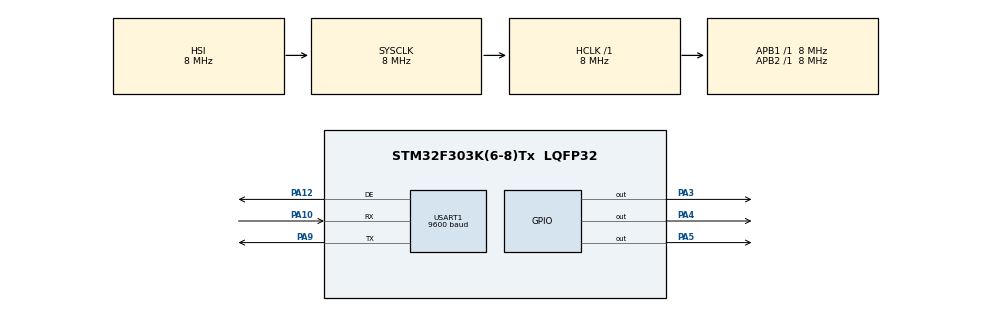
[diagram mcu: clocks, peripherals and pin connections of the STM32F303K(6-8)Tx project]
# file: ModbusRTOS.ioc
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Dma.Request0=USART1_RX
Dma.Request1=USART1_TX
Dma.USART1_RX.0.Direction=DMA_PERIPH_TO_MEMORY
Dma.USART1_RX.0.Instance=DMA1_Channel5
Dma.USART1_RX.0.MemDataAlignment=DMA_MDATAALIGN_BYTE
Dma.USART1_RX.0.MemInc=DMA_MINC_ENABLE
Dma.USART1_RX.0.Mode=DMA_NORMAL
Dma.USART1_RX.0.PeriphDataAlignment=DMA_PDATAALIGN_BYTE
Dma.USART1_RX.0.PeriphInc=DMA_PINC_DISABLE
Dma.USART1_RX.0.Priority=DMA_PRIORITY_LOW
Dma.USART1_TX.1.Direction=DMA_MEMORY_TO_PERIPH
Dma.USART1_TX.1.Instance=DMA1_Channel4
Dma.USART1_TX.1.MemDataAlignment=DMA_MDATAALIGN_BYTE
Dma.USART1_TX.1.MemInc=DMA_MINC_ENABLE
Dma.USART1_TX.1.Mode=DMA_NORMAL
Dma.USART1_TX.1.PeriphDataAlignment=DMA_PDATAALIGN_BYTE
Dma.USART1_TX.1.PeriphInc=DMA_PINC_DISABLE
Dma.USART1_TX.1.Priority=DMA_PRIORITY_LOW
FREERTOS.Tasks01=defaultTask,24,128,StartDefaultTask,Default,NULL,Dynamic,NULL,NULL
FREERTOS.configUSE_NEWLIB_REENTRANT=1
Mcu.Family=STM32F3
Mcu.Name=STM32F303K(6-8)Tx
Mcu.Package=LQFP32
NVIC.DMA1_Channel4_IRQn=true\:5\:0\:false\:false\:true\:true\:false\:true\:true
NVIC.DMA1_Channel5_IRQn=true\:5\:0\:false\:false\:true\:true\:false\:true\:true
NVIC.PriorityGroup=NVIC_PRIORITYGROUP_4
NVIC.TIM6_DAC1_IRQn=true\:15\:0\:false\:false\:true\:false\:false\:true\:true
NVIC.TimeBase=TIM6_DAC1_IRQn
NVIC.TimeBaseIP=TIM6
NVIC.USART1_IRQn=true\:5\:0\:false\:false\:true\:true\:true\:true\:true
PA10.Mode=Asynchronous
PA10.Signal=USART1_RX
PA12.Mode=Hardware Flow Control (RS485)
PA12.Signal=USART1_DE
PA3.Signal=GPIO_Output
PA4.Signal=GPIO_Output
PA5.Signal=GPIO_Output
PA9.Mode=Asynchronous
PA9.Signal=USART1_TX
ProjectManager.HeapSize=0x200
ProjectManager.StackSize=0x400
ProjectManager.TargetToolchain=STM32CubeIDE
RCC.AHBFreq_Value=8000000
RCC.APB1Freq_Value=8000000
RCC.APB2Freq_Value=8000000
RCC.CortexFreq_Value=8000000
RCC.HSE_VALUE=8000000
RCC.HSI_VALUE=8000000
RCC.SYSCLKFreq_VALUE=8000000
USART1.BaudRate=9600
USART1.VirtualMode-Asynchronous=VM_ASYNC
USART1.VirtualMode-Hardware\ Flow\ Control\ (RS485)=VM_ASYNC
VP_FREERTOS_VS_CMSIS_V2.Mode=CMSIS_V2
VP_SYS_VS_tim6.Mode=TIM6
board=custom

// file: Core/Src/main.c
/* USER CODE BEGIN Header */
/**
 ******************************************************************************
 * @file           : main.c
 * @brief          : Main program body
 ******************************************************************************
 * @attention
 *
 * Copyright (c) 2025 STMicroelectronics.
 * All rights reserved.
 *
 * This software is licensed under terms that can be found in the LICENSE file
 * in the root directory of this software component.
 * If no LICENSE file comes with this software, it is provided AS-IS.
 *
 ******************************************************************************
 */
/* USER CODE END Header */
#include "main.h"
#include "cmsis_os.h"

/* USER CODE BEGIN Includes */
#include "modbus.h"
#include "modbus_init.h"
#include "modbus_device.h"
#include "modbus_test.h"
#include "uart_callbacks.h"
/* USER CODE END Includes */

UART_HandleTypeDef huart1;
DMA_HandleTypeDef hdma_usart1_rx;
DMA_HandleTypeDef hdma_usart1_tx;

/* Definitions for defaultTask */
osThreadId_t defaultTaskHandle;
const osThreadAttr_t defaultTask_attributes = {
    .name = "defaultTask",
    .stack_size = 128 * 4,
    .priority = (osPriority_t)osPriorityNormal,
};

/* Definitions for Modbus_Communication_Task */
osThreadId_t ModbusCommunicationTaskHandle;
const osThreadAttr_t ModbusCommunicationTask_attributes = {
    .name = "ModbusComm",
    .stack_size = 256 * 4,
    .priority = (osPriority_t)osPriorityNormal,
};

/* Definitions for Sensor_Update_Task */
osThreadId_t SensorUpdateTaskHandle;
const osThreadAttr_t SensorUpdateTask_attributes = {
    .name = "SensorUpdate",
    .stack_size = 128 * 4,
    .priority = (osPriority_t)osPriorityBelowNormal,
};

void SystemClock_Config(void);
static void MX_GPIO_Init(void);
static void MX_DMA_Init(void);
static void MX_USART1_UART_Init(void);
void StartDefaultTask(void *argument);
void ModbusCommunicationTask(void *argument);
void SensorUpdateTask(void *argument);
extern void initialise_monitor_handles(void);

int main(void)
{

  /* USER CODE BEGIN 1 */
  initialise_monitor_handles();
  /* USER CODE END 1 */

  /* MCU Configuration--------------------------------------------------------*/

  /* Reset of all peripherals, Initializes the Flash interface and the Systick. */
  HAL_Init();

  /* Configure the system clock */
  SystemClock_Config();

  /* Initialize all configured peripherals */
  MX_GPIO_Init();
  MX_DMA_Init();
  MX_USART1_UART_Init();
  /* USER CODE BEGIN 2 */

  // Initialize UART callbacks
  UART_Callbacks_Init();

  // Initialize Modbus RTU slave
  Modbus_Init();

  // Initialize test functions
  Modbus_Test_Init();

  /* USER CODE END 2 */

  /* Init scheduler */
  osKernelInitialize();

  /* Create the thread(s) */
  /* creation of defaultTask */
  defaultTaskHandle = osThreadNew(StartDefaultTask, NULL, &defaultTask_attributes);

  /* USER CODE BEGIN RTOS_THREADS */
  /* add threads, ... */

  // Create Modbus communication task
  ModbusCommunicationTaskHandle = osThreadNew(ModbusCommunicationTask, NULL, &ModbusCommunicationTask_attributes);

  // Create sensor update task
  SensorUpdateTaskHandle = osThreadNew(SensorUpdateTask, NULL, &SensorUpdateTask_attributes);

  /* USER CODE END RTOS_THREADS */

  /* Start scheduler */
  osKernelStart();

  /* We should never get here as control is now taken by the scheduler */

  /* Infinite loop */
  while (1)
  {

  }
}

void SystemClock_Config(void)
{
  RCC_OscInitTypeDef RCC_OscInitStruct = {0};
  RCC_ClkInitTypeDef RCC_ClkInitStruct = {0};
  RCC_PeriphCLKInitTypeDef PeriphClkInit = {0};

  /** Initializes the RCC Oscillators according to the specified parameters
   * in the RCC_OscInitTypeDef structure.
   */
  RCC_OscInitStruct.OscillatorType = RCC_OSCILLATORTYPE_HSI;
  RCC_OscInitStruct.HSIState = RCC_HSI_ON;
  RCC_OscInitStruct.HSICalibrationValue = RCC_HSICALIBRATION_DEFAULT;
  RCC_OscInitStruct.PLL.PLLState = RCC_PLL_NONE;
  if (HAL_RCC_OscConfig(&RCC_OscInitStruct) != HAL_OK)
  {
    Error_Handler();
  }

  /** Initializes the CPU, AHB and APB buses clocks
   */
  RCC_ClkInitStruct.ClockType = RCC_CLOCKTYPE_HCLK | RCC_CLOCKTYPE_SYSCLK | RCC_CLOCKTYPE_PCLK1 | RCC_CLOCKTYPE_PCLK2;
  RCC_ClkInitStruct.SYSCLKSource = RCC_SYSCLKSOURCE_HSI;
  RCC_ClkInitStruct.AHBCLKDivider = RCC_SYSCLK_DIV1;
  RCC_ClkInitStruct.APB1CLKDivider = RCC_HCLK_DIV1;
  RCC_ClkInitStruct.APB2CLKDivider = RCC_HCLK_DIV1;

  if (HAL_RCC_ClockConfig(&RCC_ClkInitStruct, FLASH_LATENCY_0) != HAL_OK)
  {
    Error_Handler();
  }
  PeriphClkInit.PeriphClockSelection = RCC_PERIPHCLK_USART1;
  PeriphClkInit.Usart1ClockSelection = RCC_USART1CLKSOURCE_PCLK1;
  if (HAL_RCCEx_PeriphCLKConfig(&PeriphClkInit) != HAL_OK)
  {
    Error_Handler();
  }
}

static void MX_USART1_UART_Init(void)
{

  huart1.Instance = USART1;
  huart1.Init.BaudRate = 9600;
  huart1.Init.WordLength = UART_WORDLENGTH_8B;
  huart1.Init.StopBits = UART_STOPBITS_1;
  huart1.Init.Parity = UART_PARITY_NONE;
  huart1.Init.Mode = UART_MODE_TX_RX;
  huart1.Init.HwFlowCtl = UART_HWCONTROL_NONE;
  huart1.Init.OverSampling = UART_OVERSAMPLING_16;
  huart1.Init.OneBitSampling = UART_ONE_BIT_SAMPLE_DISABLE;
  huart1.AdvancedInit.AdvFeatureInit = UART_ADVFEATURE_NO_INIT;
  if (HAL_RS485Ex_Init(&huart1, UART_DE_POLARITY_HIGH, 0, 0) != HAL_OK)
  {
    Error_Handler();
  }
}

static void MX_DMA_Init(void)
{

  /* DMA controller clock enable */
  __HAL_RCC_DMA1_CLK_ENABLE();

  /* DMA interrupt init */
  /* DMA1_Channel4_IRQn interrupt configuration */
  HAL_NVIC_SetPriority(DMA1_Channel4_IRQn, 5, 0);
  HAL_NVIC_EnableIRQ(DMA1_Channel4_IRQn);
  /* DMA1_Channel5_IRQn interrupt configuration */
  HAL_NVIC_SetPriority(DMA1_Channel5_IRQn, 5, 0);
  HAL_NVIC_EnableIRQ(DMA1_Channel5_IRQn);
}

static void MX_GPIO_Init(void)
{

  /* GPIO Ports Clock Enable */
  __HAL_RCC_GPIOA_CLK_ENABLE();
  __HAL_RCC_GPIOB_CLK_ENABLE();

}

void StartDefaultTask(void *argument)
{
  for (;;)
  {
    osDelay(1);
  }
}

void ModbusCommunicationTask(void *argument)
{
  /* USER CODE BEGIN ModbusCommunicationTask */
  /* Infinite loop */
  for (;;)
  {
    // Process Modbus communication
    Modbus_Process();

    // Small delay to prevent busy waiting
    osDelay(10);
  }
  /* USER CODE END ModbusCommunicationTask */
}

void SensorUpdateTask(void *argument)
{
  /* USER CODE BEGIN SensorUpdateTask */
  /* Infinite loop */
  for (;;)
  {
    // Update test values
    Modbus_Test_Update();

    // Delay for 100ms between updates
    osDelay(100);
  }
  /* USER CODE END SensorUpdateTask */
}

void HAL_TIM_PeriodElapsedCallback(TIM_HandleTypeDef *htim)
{
  if (htim->Instance == TIM6)
  {
    HAL_IncTick();
  }
}

void Error_Handler(void)
{
  __disable_irq();
  while (1)
  {
  }
}
